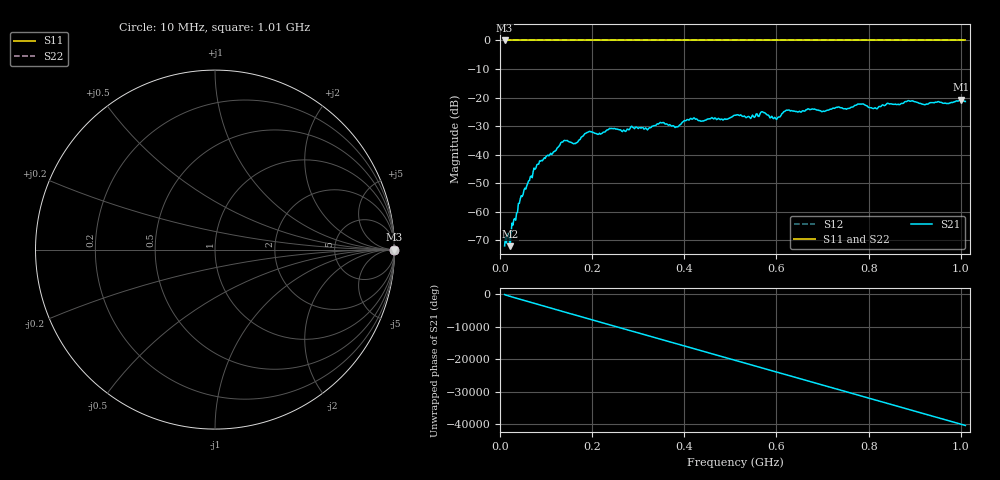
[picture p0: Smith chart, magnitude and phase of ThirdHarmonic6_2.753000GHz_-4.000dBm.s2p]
! 8/17/2025 6:53:55 AM
! C:\ANRITSUVNA\TEMP\TEMP.S2P
! CHANNEL.1
! TR.MEASUREMENT
! RAW.DATA
! RF.CORRECTION.OFF
! AVERAGING.OFF
! IF.BANDWIDTH: 5KHZ
! SWEEPTYPE:  FREQ.SWEEP(Linear)
! Reference Plane Port Info
! PORT:  PORT1  PORT2
! DISTANCE:  0  m  0  m
! TIME:  0  s  0  s
! PHASE.OFFSET:  0  deg.  0  deg.
! LOSS:  0  dB  0  dB
! REF.LOSS:  0  dB  0  dB
! REF.FREQ:  0  Hz  0  Hz
! Power Info
! POWER:  -20  dBm  -20  dBm
! EFF.POWER:  -20  dBm  -20  dBm
! SOURCE.ATTEN:  0  dB  0  dB
! TEST.ATTEN:  0  dB  0  dB
# GHZ S RI R 50.0
! FREQ.GHZ  S11RE  S11IM  S21RE  S21IM  S12RE  S12IM  S22RE  S22IM
!; PortSelection: Port_12
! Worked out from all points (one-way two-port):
!   501 points, 10 MHz to 1.01 GHz, reference 50 ohm
!   highest |S21| = -20.67 dB at 1 GHz (marker M1); lowest = -72.0 dB at 22 MHz (marker M2)
!   lowest |S11| = 0.0 dB at 10 MHz (marker M3)
!   |S11| at or under -10 dB: nowhere
!   |S22| runs from 0.0 to 0.0 dB; largest |S21 - S12| = 1.1
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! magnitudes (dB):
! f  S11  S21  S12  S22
! 10 MHz  0.0  -71.9  0.0  0.0
! 22 MHz  0.0  -72.0  0.0  0.0
! 44 MHz  0.0  -55.4  0.0  0.0
! 84 MHz  0.0  -43.3  0.0  0.0
! 136 MHz  0.0  -35.6  0.0  0.0
! 164 MHz  0.0  -36.1  0.0  0.0
! 178 MHz  0.0  -33.7  0.0  0.0
! 194 MHz  0.0  -31.8  0.0  0.0
! 318 MHz  0.0  -30.9  0.0  0.0
! 344 MHz  0.0  -29.2  0.0  0.0
! 384 MHz  0.0  -30.3  0.0  0.0
! 418 MHz  0.0  -27.5  0.0  0.0
! 510 MHz  0.0  -26.2  0.0  0.0
! 570 MHz  0.0  -25.0  0.0  0.0
! 598 MHz  0.0  -27.2  0.0  0.0
! 624 MHz  0.0  -24.4  0.0  0.0
! 678 MHz  0.0  -24.0  0.0  0.0
! 784 MHz  0.0  -22.3  0.0  0.0
! 814 MHz  0.0  -23.6  0.0  0.0
! 844 MHz  0.0  -22.1  0.0  0.0
! 1 GHz  0.0  -20.7  0.0  0.0
! 1.01 GHz  0.0  -21.4  0.0  0.0
